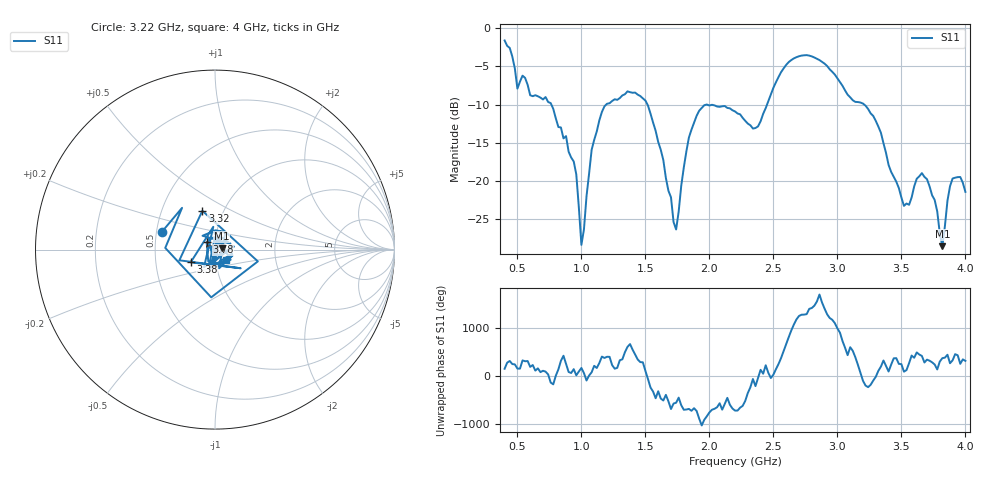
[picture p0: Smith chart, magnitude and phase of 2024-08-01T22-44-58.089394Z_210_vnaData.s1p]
!Created with skrf (http://scikit-rf.org).
# Hz S RI R 50.0
!freq ReS11 ImS11
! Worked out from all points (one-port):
!   181 points, 400 MHz to 4 GHz, reference 50 ohm
!   lowest |S11| = -28.5 dB at 3.82 GHz (marker M1), VSWR 1.08, Z = 53.8 + j0.874 ohm
!   |S11| at or under -10 dB: 1.517 GHz to 1.976 GHz (459.1 MHz wide, 26.3 % of centre); 1.983 GHz to 2.45 GHz (467.1 MHz wide, 21.1 % of centre); 3.21 GHz to end of sweep (the widest 3 of 4)
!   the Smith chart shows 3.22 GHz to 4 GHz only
!   S11 on the Smith chart (normalised r, x): 3.22 GHz: 0.54, +0.12; 3.32 GHz: 0.80, +0.36; 3.38 GHz: 0.75, -0.11; 3.78 GHz: 0.91, +0.08; 4 GHz: 1.12, -0.13
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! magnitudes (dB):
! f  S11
! 400 MHz  -1.6
! 500 MHz  -7.9
! 720 MHz  -9.0
! 860 MHz  -14.4
! 960 MHz  -19.1
! 1 GHz  -28.3
! 1.1 GHz  -14.6
! 1.18 GHz  -10.2
! 1.3 GHz  -9.1
! 1.5 GHz  -9.5
! 1.64 GHz  -17.2
! 1.72 GHz  -25.3
! 1.76 GHz  -24.0
! 1.84 GHz  -14.3
! 1.92 GHz  -10.8
! 2.2 GHz  -10.9
! 2.38 GHz  -12.8
! 2.66 GHz  -3.9
! 3.1 GHz  -9.0
! 3.22 GHz  -10.1
! 3.32 GHz  -12.9
! 3.38 GHz  -16.3
! 3.56 GHz  -23.1
! 3.66 GHz  -18.9
! 3.78 GHz  -24.0
! 3.82 GHz  -28.5
! 3.9 GHz  -19.7
! 4 GHz  -21.4
